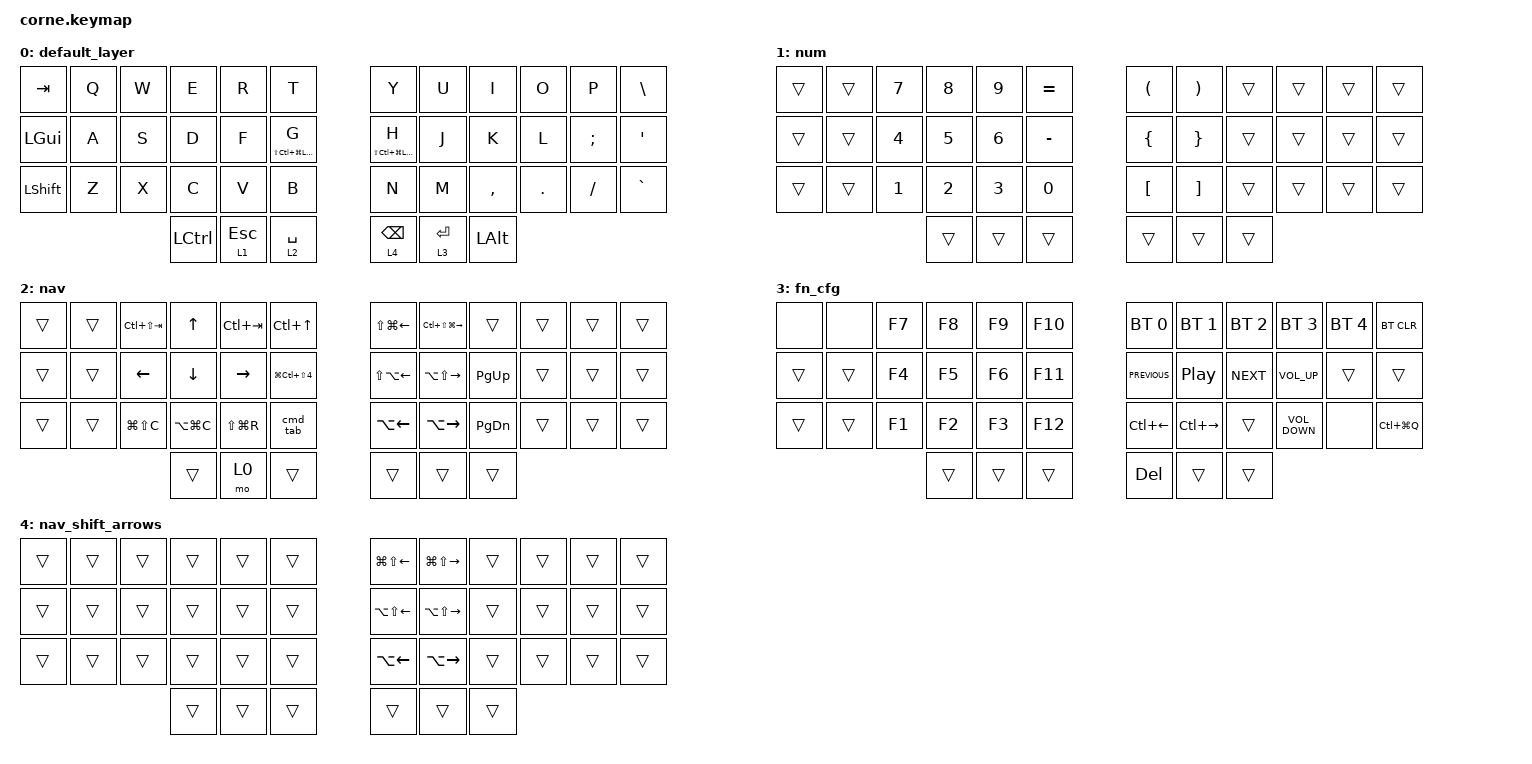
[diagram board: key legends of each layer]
/*
 * Copyright (c) 2020 The ZMK Contributors
 *
 * SPDX-License-Identifier: MIT
 * To use home rows - &hm LSHFT F
 */

#include <behaviors.dtsi>
#include <dt-bindings/zmk/bt.h>
#include <dt-bindings/zmk/keys.h>

#define QWERTY 0
#define NUMB 1
#define NAVI 2
#define ADJUST 3

/ {
    behaviors {
        hm: homerow_mods {
            compatible = "zmk,behavior-hold-tap";
            label = "HOMEROW_MODS";
            #binding-cells = <2>;
            tapping-term-ms = <150>;
            quick_tap_ms = <0>;
            flavor = "tap-preferred";
            bindings = <&kp>, <&kp>;
        };

        hml: hml {
            compatible = "zmk,behavior-hold-tap";
            label = "HML";
            bindings = <&kp>, <&kp>;

            #binding-cells = <2>;
            tapping-term-ms = <280>;
            quick-tap-ms = <150>;
            flavor = "balanced";
            hold-trigger-key-positions = <36 38 37 39 40 41 30 31 18 6 19 7 8 9 10 11 19 20 21 22 23 31 32 33 34 35>;
            hold-trigger-on-release;
        };

        hmr: hmr {
            compatible = "zmk,behavior-hold-tap";
            label = "HMR";
            bindings = <&kp>, <&kp>;

            #binding-cells = <2>;
            tapping-term-ms = <280>;
            quick-tap-ms = <150>;
            flavor = "balanced";
            hold-trigger-key-positions = <0 1 2 4 5 12 13 14 15 16 17 24 25 26 27 28 29 36 37 38 3 39 40 41>;
            hold-trigger-on-release;
        };
    };

    macros {
        alt_tab: alt_tab {
            compatible = "zmk,behavior-macro";
            #binding-cells = <0>;
            bindings =
                <&macro_press>,
                <&kp LEFT_ALT>,
                <&macro_tap>,
                <&kp TAB>,
                <&macro_pause_for_release>,
                <&macro_release>,
                <&kp LALT>;

            label = "ALT_TAB";
        };

        cmd_tab: cmd_tab {
            compatible = "zmk,behavior-macro";
            #binding-cells = <0>;
            bindings =
                <&macro_press>,
                <&kp LEFT_GUI>,
                <&macro_tap>,
                <&kp TAB>,
                <&macro_pause_for_release>,
                <&macro_release>,
                <&kp LEFT_GUI>;

            label = "CMD_TAB";
        };
    };

    combos {
        compatible = "zmk,combos";

        minus {
            bindings = <&kp MINUS>;
            key-positions = <4 7>;
        };

        underscore {
            bindings = <&kp LS(MINUS)>;
            key-positions = <28 31>;
        };

        caps_word {
            bindings = <&caps_word>;
            key-positions = <25 34>;
        };

        equals {
            bindings = <&kp EQUAL>;
            key-positions = <17 18>;
        };

        sleep {
            bindings = <&kp LG(LC(Q))>;
            key-positions = <0 11>;
        };

        bottomesc {
            bindings = <&kp ESCAPE>;
            key-positions = <24 35>;
        };

        change_lang {
            bindings = <&kp LC(SPACE)>;
            key-positions = <15 16>;
        };
    };

    keymap {
        compatible = "zmk,keymap";

        default_layer {
            // .--------------------------------------------------------------.       .-----------------------------------------------------------.
            // |   ESC        |    Q    |    W   |   E    |    R    |    T    |       |   Y   |    U    |    I    |    O    |     P    |    \     |
            // |--------------+---------+--------+--------+---------+---------|       |-------+---------+---------+---------+----------+----------|
            // |   CTRL/Tab   |    A    |    S   |   D    |    F    |    G    |       |   H   |    J    |    K    |    L    |     ;    |     '    |
            // |--------------+---------+--------+--------+---------+---------|       |-------+---------+---------+---------+----------+----------|
            // |   SHFT       |    Z    |    X   |   C    |    V    |    B    |       |   N   |    M    |    ,    |    .    |     /    | ` | ALT  |
            // '---------------------------------+--------+---------+---------+       |-------+---------+---------+-------------------------------'
            //                                   |  GUI   |   MO1   |   ENT   |       |  SPC  |   BKSP  |  CAPS   |
            //                                   '--------+---------+---------'       '-------+---------+---------'

            bindings = <
&kp TAB         &kp Q  &kp W  &kp E      &kp R         &kp T                          &kp Y                        &kp U        &kp I         &kp O    &kp P     &kp BACKSLASH
&kp LEFT_GUI    &kp A  &kp S  &kp D      &kp F         &hml LS(LC(LG(LEFT_ALT))) G    &hmr LS(LC(LG(LEFT_ALT))) H  &kp J        &kp K         &kp L    &kp SEMI  &kp SQT
&kp LEFT_SHIFT  &kp Z  &kp X  &kp C      &kp V         &kp B                          &kp N                        &kp M        &kp COMMA     &kp DOT  &kp FSLH  &kp GRAVE
                              &kp LCTRL  &lt 1 ESCAPE  &lt 2 SPACE                    &lt 4 BACKSPACE              &lt 3 ENTER  &kp LEFT_ALT
            >;
        };

        num {
            bindings = <
&trans  &trans  &kp N7  &kp N8  &kp N9  &kp EQUAL    &kp LEFT_PARENTHESIS  &kp RIGHT_PARENTHESIS  &trans  &trans  &trans  &trans
&trans  &trans  &kp N4  &kp N5  &kp N6  &kp MINUS    &kp LEFT_BRACE        &kp RIGHT_BRACE        &trans  &trans  &trans  &trans
&trans  &trans  &kp N1  &kp N2  &kp N3  &kp N0       &kp LEFT_BRACKET      &kp RIGHT_BRACKET      &trans  &trans  &trans  &trans
                        &trans  &trans  &trans       &trans                &trans                 &trans
            >;
        };

        nav {
            // .----------------------------------------------------------------.       .-----------------------------------------------------------------.
            // |   CMD+SHIFT+4  |       |   PU   |   UP   |    PD    |   HOME   |       |  HOME   |    PU    |    UP   |   PD    |          | CMD+SHIFT+4 |
            // |----------------+-------+--------+--------+----------+----------|       |---------+----------+---------+---------+----------+-------------|
            // |                |       |  LEFT  |  DOWN  |   RIGHT  |   END    |       |  END    |   LEFT   |   DOWN  |  RIGHT  |          |             |
            // |----------------+-------+--------+--------+----------+----------|       |---------+----------+---------+---------+----------+-------------|
            // |     OUT_TOG    |       |        |        |CTRL+LEFT |CTRL+RIGHT|       |CTRL+LEFT|CTRL+RIGHT|         |         |          |   OUT_TOG   |
            // '---------------------------------+--------+----------+----------+       |---------+----------+---------+----------------------------------'
            //                                   |  GUI   |   MO3    |          |       |         |          |         |
            //                                   '--------+----------+----------'       '---------+----------+---------'

            bindings = <
&trans  &trans  &kp LC(LS(TAB))  &kp UP_ARROW    &kp LC(TAB)      &kp LC(UP_ARROW)      &kp LS(LG(LEFT_ARROW))  &kp LC(LS(LG(RIGHT_ARROW)))  &trans         &trans  &trans  &trans
&trans  &trans  &kp LEFT_ARROW   &kp DOWN_ARROW  &kp RIGHT_ARROW  &kp LG(LC(LS(N4)))    &kp LS(LA(LEFT_ARROW))  &kp LA(LS(RIGHT_ARROW))      &kp PG_UP      &trans  &trans  &trans
&trans  &trans  &kp LG(LS(C))    &kp LA(LG(C))   &kp LS(LG(R))    &cmd_tab              &kp LA(LEFT_ARROW)      &kp LA(RIGHT_ARROW)          &kp PAGE_DOWN  &trans  &trans  &trans
                                 &trans          &mo 0            &trans                &trans                  &trans                       &trans
            >;
        };

        fn_cfg {
            bindings = <
&none   &none   &kp F7  &kp F8  &kp F9  &kp F10    &bt BT_SEL 0    &bt BT_SEL 1      &bt BT_SEL 2  &bt BT_SEL 3       &bt BT_SEL 4  &bt BT_CLR
&trans  &trans  &kp F4  &kp F5  &kp F6  &kp F11    &kp C_PREVIOUS  &kp C_PLAY_PAUSE  &kp C_NEXT    &kp C_VOLUME_UP    &trans        &trans
&trans  &trans  &kp F1  &kp F2  &kp F3  &kp F12    &kp LC(LEFT)    &kp LC(RIGHT)     &trans        &kp C_VOLUME_DOWN  &none         &kp LC(LG(Q))
                        &trans  &trans  &trans     &kp DELETE      &trans            &trans
            >;
        };

        nav_shift_arrows {
            bindings = <
&trans  &trans  &trans  &trans  &trans  &trans    &kp LG(LS(LEFT))  &kp LG(LS(RIGHT))  &trans  &trans  &trans  &trans
&trans  &trans  &trans  &trans  &trans  &trans    &kp LA(LS(LEFT))  &kp LA(LS(RIGHT))  &trans  &trans  &trans  &trans
&trans  &trans  &trans  &trans  &trans  &trans    &kp LA(LEFT)      &kp LA(RIGHT)      &trans  &trans  &trans  &trans
                        &trans  &trans  &trans    &trans            &trans             &trans
            >;
        };
    };
};
